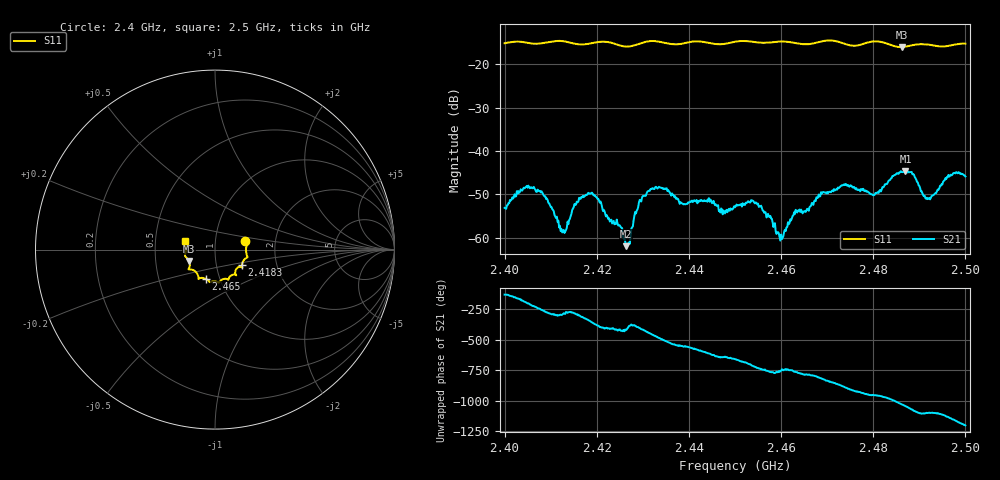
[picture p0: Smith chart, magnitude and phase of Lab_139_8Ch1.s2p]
# Hz S RI R 50
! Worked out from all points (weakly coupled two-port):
!   601 points, 2.4 GHz to 2.5 GHz, reference 50 ohm
!   highest |S21| = -44.61 dB at 2.487 GHz (marker M1); lowest = -62.0 dB at 2.4263 GHz (marker M2)
!   lowest |S11| = -16.0 dB at 2.4862 GHz (marker M3), VSWR 1.37, Z = 37.1 - j4.86 ohm
!   |S11| at or under -10 dB: start of sweep to end of sweep
!   S12 and S22 are empty: the file has one direction only
!   S11 on the Smith chart (normalised r, x): 2.4 GHz: 1.40, +0.13; 2.4183 GHz: 1.33, -0.24; 2.465 GHz: 0.86, -0.29; 2.5 GHz: 0.71, +0.07
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2.4e9  0.169 0.0458  -0.00136 -0.00173  0 0  0 0
2.406167e9  0.1729 0.00691  -0.00277 0.00255  0 0  0 0
2.412667e9  0.18 -0.0434  0.000344 0.00112  0 0  0 0
2.416667e9  0.155 -0.0685  0.00197 0.00219  0 0  0 0
2.418333e9  0.1497 -0.087  0.00305 0.00103  0 0  0 0
2.426333e9  0.1227 -0.1031  0.000387 -0.000694  0 0  0 0
2.429667e9  0.1131 -0.1345  0.00158 -0.00208  0 0  0 0
2.433333e9  0.1166 -0.1411  -0.00208 -0.00315  0 0  0 0
2.4385e9  0.0798 -0.1536  -0.00243 0.000459  0 0  0 0
2.45e9  0.025 -0.1806  0.00112 0.00193  0 0  0 0
2.4545e9  0.0108 -0.1797  0.00253 -0.000211  0 0  0 0
2.46e9  -0.0279 -0.1814  0.000884 -0.000625  0 0  0 0
2.465e9  -0.0529 -0.1621  0.000819 -0.00182  0 0  0 0
2.466667e9  -0.0714 -0.1576  0.00074 -0.00239  0 0  0 0
2.4735e9  -0.0936 -0.1476  -0.0039 -0.00114  0 0  0 0
2.479833e9  -0.1467 -0.1102  -0.00181 0.00255  0 0  0 0
2.483333e9  -0.1417 -0.0956  -0.000627 0.00449  0 0  0 0
2.486167e9  -0.1443 -0.0638  0.00382 0.00428  0 0  0 0
2.487e9  -0.1498 -0.0556  0.00489 0.00327  0 0  0 0
2.491833e9  -0.1667 -0.0285  0.00256 -0.00106  0 0  0 0
2.4965e9  -0.1623 0.0224  0.00243 -0.00443  0 0  0 0
2.5e9  -0.1664 0.047  -0.00291 -0.00415  0 0  0 0
